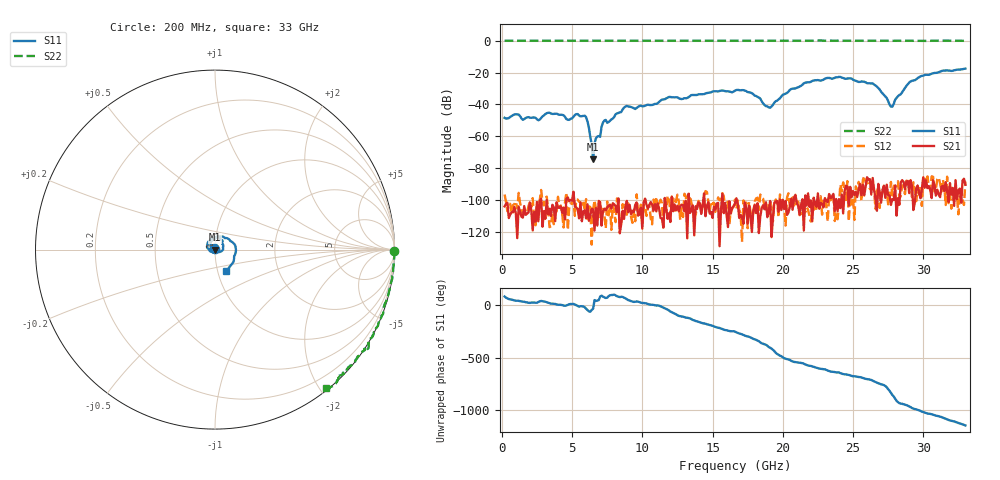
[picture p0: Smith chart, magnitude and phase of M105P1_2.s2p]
# GHZ S RI R 50
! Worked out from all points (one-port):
!   329 points, 200 MHz to 33 GHz, reference 50 ohm
!   lowest |S11| = -74.4 dB at 6.5 GHz (marker M1), VSWR 1.00, Z = 50 - j0.0102 ohm
!   |S11| at or under -10 dB: start of sweep to end of sweep
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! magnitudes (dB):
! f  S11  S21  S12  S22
! 200 MHz  -48.4  -103.9  -96.5  0.0
! 5.7 GHz  -47.3  -113.2  -104.4  0.0
! 6.1 GHz  -50.7  -102.6  -111.8  0.0
! 6.4 GHz  -65.2  -105.3  -127.9  0.0
! 6.5 GHz  -74.4  -106.0  -106.1  0.0
! 6.6 GHz  -64.5  -119.0  -100.1  0.0
! 6.7 GHz  -61.3  -105.0  -105.5  0.0
! 7 GHz  -60.3  -101.2  -102.6  0.0
! 7.1 GHz  -54.0  -115.9  -106.0  0.0
! 7.3 GHz  -50.0  -105.3  -108.8  0.0
! 8.9 GHz  -40.9  -100.5  -109.1  0.0
! 11.2 GHz  -38.4  -105.3  -102.0  0.0
! 16.6 GHz  -31.3  -101.9  -99.7  0.0
! 17.8 GHz  -32.9  -120.0  -113.9  0.0
! 19.1 GHz  -42.1  -100.6  -100.7  0.0
! 20.5 GHz  -30.9  -104.3  -103.7  0.0
! 22.1 GHz  -25.3  -113.3  -106.3  0.0
! 24 GHz  -22.7  -99.4  -103.2  0.0
! 26.4 GHz  -26.8  -86.1  -92.2  0.0
! 27.6 GHz  -40.1  -97.1  -100.6  -0.1
! 29.8 GHz  -22.4  -98.8  -91.5  -0.1
! 33 GHz  -17.5  -90.4  -88.3  -0.1
